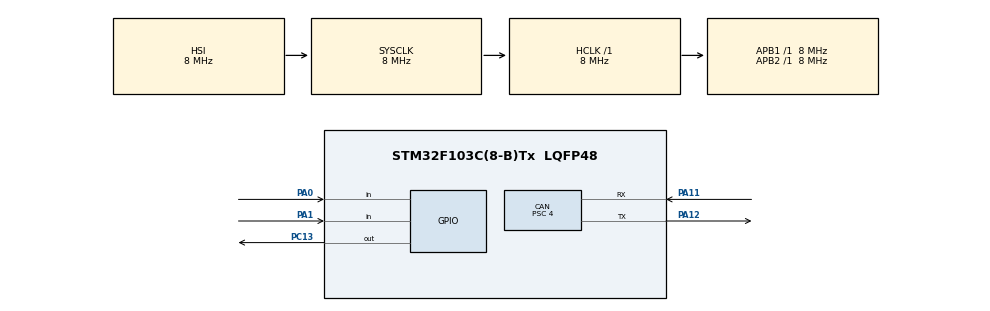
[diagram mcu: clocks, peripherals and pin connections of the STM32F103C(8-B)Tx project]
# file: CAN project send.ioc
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CAN.BS1=CAN_BS1_13TQ
CAN.BS2=CAN_BS2_2TQ
CAN.CalculateBaudRate=125000
CAN.CalculateTimeBit=8000
CAN.CalculateTimeQuantum=500.0
CAN.Prescaler=4
Mcu.Family=STM32F1
Mcu.Name=STM32F103C(8-B)Tx
Mcu.Package=LQFP48
NVIC.PriorityGroup=NVIC_PRIORITYGROUP_4
PA0-WKUP.GPIO_PuPd=GPIO_PULLUP
PA0-WKUP.Signal=GPIO_Input
PA1.GPIO_PuPd=GPIO_PULLUP
PA1.Signal=GPIO_Input
PA11.GPIO_PuPd=GPIO_PULLUP
PA11.Mode=CAN_Activate
PA11.Signal=CAN_RX
PA12.Mode=CAN_Activate
PA12.Signal=CAN_TX
PC13-TAMPER-RTC.Signal=GPIO_Output
ProjectManager.HeapSize=0x200
ProjectManager.StackSize=0x400
ProjectManager.TargetToolchain=STM32CubeIDE
RCC.AHBFreq_Value=8000000
RCC.APB1Freq_Value=8000000
RCC.APB1TimFreq_Value=8000000
RCC.APB2Freq_Value=8000000
RCC.APB2TimFreq_Value=8000000
RCC.HCLKFreq_Value=8000000
RCC.SYSCLKFreq_VALUE=8000000
RCC.USBFreq_Value=8000000
VP_SYS_VS_ND.Mode=No_Debug
board=custom

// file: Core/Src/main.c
/* USER CODE BEGIN Header */
/**
  ******************************************************************************
  * @file           : main.c  (SENDER)
  * @brief          : Sends CAN frame ID 0x103 once per second
  ******************************************************************************
  */
/* USER CODE END Header */
#include "main.h"

/* USER CODE BEGIN Includes */
#include <stdio.h>
/* USER CODE END Includes */

CAN_HandleTypeDef hcan;

/* USER CODE BEGIN PV */
CAN_TxHeaderTypeDef   TxHeader;
CAN_TxHeaderTypeDef   TxHeader2;
uint8_t               TxData[]={'B','T','N'};
uint32_t              TxMailbox;
/* USER CODE END PV */

void SystemClock_Config(void);
static void MX_GPIO_Init(void);
static void MX_CAN_Init(void);

int main(void)
{

  /* MCU Configuration--------------------------------------------------------*/

  /* Reset of all peripherals, Initializes the Flash interface and the Systick. */
  HAL_Init();

  /* Configure the system clock */
  SystemClock_Config();

  /* Initialize all configured peripherals */
  MX_GPIO_Init();
  MX_CAN_Init();
  /* USER CODE BEGIN 2 */
  if (HAL_CAN_Start(&hcan) != HAL_OK)
  {
    Error_Handler();
  }

  //First Message
  TxHeader.IDE   = CAN_ID_STD;
  TxHeader.StdId = 0x001; // ID of message1
  TxHeader.RTR   = CAN_RTR_DATA;
  TxHeader.DLC   = 3; // The Message is BTN
  TxHeader.TransmitGlobalTime = DISABLE;

  //Second Message
  TxHeader2.IDE   = CAN_ID_STD;
  TxHeader2.StdId = 0x002; // ID of message2
  TxHeader2.RTR   = CAN_RTR_DATA;
  TxHeader2.DLC   = 3; // The Message is BTN
  TxHeader2.TransmitGlobalTime = DISABLE;

  /* USER CODE END 2 */

  /* Infinite loop */
  /* USER CODE BEGIN WHILE */
  while (1)
  {
	if(HAL_GPIO_ReadPin(GPIOA, GPIO_PIN_0) == GPIO_PIN_RESET){
		/* Only queue a frame if a mailbox is free (e.g. bus down => skip, don't freeze) */
		if (HAL_CAN_GetTxMailboxesFreeLevel(&hcan) > 0)
		{
		  if (HAL_CAN_AddTxMessage(&hcan, &TxHeader, TxData, &TxMailbox) != HAL_OK)
		  {
			Error_Handler();
		  }
		  HAL_GPIO_TogglePin(GPIOC, GPIO_PIN_13); // indicator that the message is sent
		}
	}
	if(HAL_GPIO_ReadPin(GPIOA, GPIO_PIN_1) == GPIO_PIN_RESET){
			/* Only queue a frame if a mailbox is free (e.g. bus down => skip, don't freeze) */
			if (HAL_CAN_GetTxMailboxesFreeLevel(&hcan) > 0)
			{
			  if (HAL_CAN_AddTxMessage(&hcan, &TxHeader2, TxData, &TxMailbox) != HAL_OK)
			  {
				Error_Handler();
			  }
			  HAL_GPIO_TogglePin(GPIOC, GPIO_PIN_13); // indicator that the message is sent
			}
	}
    HAL_Delay(5);
    /* USER CODE END WHILE */

  }
}

void SystemClock_Config(void)
{
  RCC_OscInitTypeDef RCC_OscInitStruct = {0};
  RCC_ClkInitTypeDef RCC_ClkInitStruct = {0};

  /** Initializes the RCC Oscillators according to the specified parameters
  * in the RCC_OscInitTypeDef structure.
  */
  RCC_OscInitStruct.OscillatorType = RCC_OSCILLATORTYPE_HSI;
  RCC_OscInitStruct.HSIState = RCC_HSI_ON;
  RCC_OscInitStruct.HSICalibrationValue = RCC_HSICALIBRATION_DEFAULT;
  RCC_OscInitStruct.PLL.PLLState = RCC_PLL_NONE;
  if (HAL_RCC_OscConfig(&RCC_OscInitStruct) != HAL_OK)
  {
    Error_Handler();
  }

  /** Initializes the CPU, AHB and APB buses clocks
  */
  RCC_ClkInitStruct.ClockType = RCC_CLOCKTYPE_HCLK|RCC_CLOCKTYPE_SYSCLK
                              |RCC_CLOCKTYPE_PCLK1|RCC_CLOCKTYPE_PCLK2;
  RCC_ClkInitStruct.SYSCLKSource = RCC_SYSCLKSOURCE_HSI;
  RCC_ClkInitStruct.AHBCLKDivider = RCC_SYSCLK_DIV1;
  RCC_ClkInitStruct.APB1CLKDivider = RCC_HCLK_DIV1;
  RCC_ClkInitStruct.APB2CLKDivider = RCC_HCLK_DIV1;

  if (HAL_RCC_ClockConfig(&RCC_ClkInitStruct, FLASH_LATENCY_0) != HAL_OK)
  {
    Error_Handler();
  }
}

static void MX_CAN_Init(void)
{

  hcan.Instance = CAN1;
  hcan.Init.Prescaler = 4;
  hcan.Init.Mode = CAN_MODE_NORMAL;
  hcan.Init.SyncJumpWidth = CAN_SJW_1TQ;
  hcan.Init.TimeSeg1 = CAN_BS1_13TQ;
  hcan.Init.TimeSeg2 = CAN_BS2_2TQ;
  hcan.Init.TimeTriggeredMode = DISABLE;
  hcan.Init.AutoBusOff = DISABLE;
  hcan.Init.AutoWakeUp = DISABLE;
  hcan.Init.AutoRetransmission = DISABLE;
  hcan.Init.ReceiveFifoLocked = DISABLE;
  hcan.Init.TransmitFifoPriority = DISABLE;
  if (HAL_CAN_Init(&hcan) != HAL_OK)
  {
    Error_Handler();
  }

}

static void MX_GPIO_Init(void)
{
  GPIO_InitTypeDef GPIO_InitStruct = {0};

  /* GPIO Ports Clock Enable */
  __HAL_RCC_GPIOC_CLK_ENABLE();
  __HAL_RCC_GPIOA_CLK_ENABLE();

  /*Configure GPIO pin Output Level */
  HAL_GPIO_WritePin(GPIOC, GPIO_PIN_13, GPIO_PIN_RESET);

  /*Configure GPIO pin : PC13 */
  GPIO_InitStruct.Pin = GPIO_PIN_13;
  GPIO_InitStruct.Mode = GPIO_MODE_OUTPUT_PP;
  GPIO_InitStruct.Pull = GPIO_NOPULL;
  GPIO_InitStruct.Speed = GPIO_SPEED_FREQ_LOW;
  HAL_GPIO_Init(GPIOC, &GPIO_InitStruct);

  /*Configure GPIO pins : PA0 PA1 */
  GPIO_InitStruct.Pin = GPIO_PIN_0|GPIO_PIN_1;
  GPIO_InitStruct.Mode = GPIO_MODE_INPUT;
  GPIO_InitStruct.Pull = GPIO_PULLUP;
  HAL_GPIO_Init(GPIOA, &GPIO_InitStruct);

}

void Error_Handler(void)
{
  __disable_irq();
  while (1)
  {
  }
}
